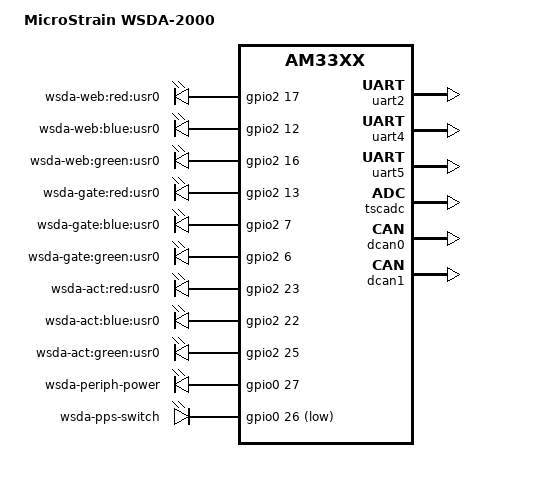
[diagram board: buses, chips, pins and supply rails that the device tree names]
/*
 * Copyright (C) 2019 Parker Hannifin - https://www.parker.com/
 *
 * This program is free software; you can redistribute it and/or modify
 * it under the terms of the GNU General Public License version 2 as
 * published by the Free Software Foundation.
 */
/dts-v1/;

#include "am33xx.dtsi"
#include "am335x-bone-common.dtsi"
#include "am335x-boneblack-common.dtsi"

/ {
	model = "MicroStrain WSDA-2000";
	compatible = "ti,am335x-wsda-2000", "ti,am33xx";
};

/ {
    wsda-gpio {
        pinctrl-names = "default";
        pinctrl-0 = <&wsda_gpio_pins>;
        compatible = "gpio-leds";

        webred { 
            label = "wsda-web:red:usr0"; 
            gpios = <&gpio2 17 GPIO_ACTIVE_HIGH>; 
            default-state = "on"; 
        }; 
    
        webblue { 
            label = "wsda-web:blue:usr0"; 
            gpios = <&gpio2 12 GPIO_ACTIVE_HIGH>; 
            default-state = "off"; 
        }; 
    
        webgreen { 
            label = "wsda-web:green:usr0"; 
            gpios = <&gpio2 16 GPIO_ACTIVE_HIGH>; 
            default-state = "off"; 
        }; 
    
        gatered { 
            label = "wsda-gate:red:usr0"; 
            gpios = <&gpio2 13 GPIO_ACTIVE_HIGH>; 
            default-state = "on"; 
        }; 
    
        gateblue { 
            label = "wsda-gate:blue:usr0"; 
            gpios = <&gpio2 7 GPIO_ACTIVE_HIGH>; 
            default-state = "off"; 
        }; 
    
        gategreen { 
            label = "wsda-gate:green:usr0"; 
            gpios = <&gpio2 6 GPIO_ACTIVE_HIGH>; 
            default-state = "off"; 
        }; 
    
        actred { 
            label = "wsda-act:red:usr0"; 
            gpios = <&gpio2 23 GPIO_ACTIVE_HIGH>; 
            default-state = "off"; 
        }; 
    
        actblue { 
            label = "wsda-act:blue:usr0"; 
            gpios = <&gpio2 22 GPIO_ACTIVE_HIGH>; 
            default-state = "off"; 
        }; 
    
        actgreen { 
            label = "wsda-act:green:usr0"; 
            gpios = <&gpio2 25 GPIO_ACTIVE_HIGH>; 
            default-state = "off"; 
        };

        periphpower { 
            label = "wsda-periph-power"; 
            gpios = <&gpio0 27 GPIO_ACTIVE_HIGH>; 
            default-state = "on"; 
        }; 
    
        ppsswitch { 
            label = "wsda-pps-switch"; 
            gpios = <&gpio0 26 GPIO_ACTIVE_LOW>; 
            default-state = "on"; 
        }; 
    };

	dmtimer_ptp0: dmtimer_ptp0 {
		compatible = "dmtimer-ptp";
		timer = <&timer4>;
		pinctrl-names = "default";
		pinctrl-0 = <&dmtimer_ptp0_pins>;
	};

	dmtimer_ptp1: dmtimer_ptp1 {
		compatible = "dmtimer-ptp";
		timer = <&timer5>;
		pinctrl-names = "default";
		pinctrl-0 = <&dmtimer_ptp1_pins>;
	};

	dmtimer_ptp2: dmtimer_ptp2 {
		compatible = "dmtimer-ptp";
		timer = <&timer6>;
		pinctrl-names = "default";
		pinctrl-0 = <&dmtimer_ptp2_pins>;
	};

	dmtimer_ptp3: dmtimer_ptp3 {
		compatible = "dmtimer-ptp";
		timer = <&timer7>;
		pinctrl-names = "default";
		pinctrl-0 = <&dmtimer_ptp3_pins>;
	};
};

&am335x_pinmux {
    wsda_gpio_pins: pinmux_wsdagpio_pins { 
        pinctrl-single,pins = < 
            /* gate red, blue, green */ 
            AM33XX_IOPAD(0x8bc, PIN_OUTPUT | MUX_MODE7) /* P8.40 lcd_data7.gpio2_13 */ 
            AM33XX_IOPAD(0x8a4, PIN_OUTPUT | MUX_MODE7) /* P8.46 lcd_data1.gpio2_7 */ 
            AM33XX_IOPAD(0x8a0, PIN_OUTPUT | MUX_MODE7) /* P8.45 lcd_data1.gpio2_6 */ 
        
            /* WEB Red, Blue, Green */ 
            AM33XX_IOPAD(0x8cc, PIN_OUTPUT | MUX_MODE7) /* P8.34 lcd_data11.gpio2_17 */ 
            AM33XX_IOPAD(0x8b8, PIN_OUTPUT | MUX_MODE7) /* P8.39 lcd_data6.gpio2_12 */ 
            AM33XX_IOPAD(0x8c8, PIN_OUTPUT | MUX_MODE7) /* P8.36 lcd_data10.gpio2_16 */ 
        
            /* Activity Red, Blue, Green */ 
            AM33XX_IOPAD(0x8e4, PIN_OUTPUT | MUX_MODE7) /* P8.29 (Red) lcd_hsync.gpio2_23 */ 
            AM33XX_IOPAD(0x8e0, PIN_OUTPUT | MUX_MODE7) /* P8.27 (Blue) lcd_vsync.gpio2_22 */ 
            AM33XX_IOPAD(0x8ec, PIN_OUTPUT | MUX_MODE7) /* P8.30 (Green) lcd_ac_bias_en.gpio2_25 */ 
        
            /* Input gpio */ 
            AM33XX_IOPAD(0x834, PIN_INPUT | MUX_MODE7) /* P8.11 gpio1_13 */ 
            AM33XX_IOPAD(0x830, PIN_INPUT | MUX_MODE7) /* P8.12 gpio1_12 */ 
            AM33XX_IOPAD(0x83c, PIN_INPUT | MUX_MODE7) /* P8.15 gpio1_15 */ 
            AM33XX_IOPAD(0x838, PIN_INPUT | MUX_MODE7) /* P8.16 gpio1_14 */ 
            AM33XX_IOPAD(0x848, PIN_INPUT | MUX_MODE7) /* P9.14 ehrpwm1a.gpio1_18 */ 
            AM33XX_IOPAD(0x84c, PIN_INPUT | MUX_MODE7) /* P9.16 ehrpwm1b.gpio1_19 */ 
        
            /* Botton board power */ 
            AM33XX_IOPAD(0x82c, PIN_OUTPUT | MUX_MODE7) /* P8.17 gpio0_27 */ 
        
            /* PPS control */ 
            AM33XX_IOPAD(0x828, PIN_OUTPUT | MUX_MODE7) /* P8.14 gpio0_26 */ 
        >; 
    };
 
    uart2_pins: pinmux_uart2_pins { 
        pinctrl-single,pins = < 
            AM33XX_IOPAD(0x950, PIN_INPUT_PULLUP | MUX_MODE1)   /* spi0_sck.uart2_rxd */ 
            AM33XX_IOPAD(0x954, PIN_OUTPUT_PULLDOWN | MUX_MODE1)    /* spi0_d0.uart2_txd */ 
        >; 
    };
 
    uart4_pins: pinmux_uart4_pins { 
        pinctrl-single,pins = < 
            AM33XX_IOPAD(0x870, PIN_INPUT_PULLUP | MUX_MODE6)   /* gpmc_wait0.uart4_rxd */ 
            AM33XX_IOPAD(0x874, PIN_OUTPUT_PULLDOWN | MUX_MODE6)    /* gpmc_wpn.uart4_txd */ 
            AM33XX_IOPAD(0x8d4, PIN_OUTPUT | MUX_MODE6) /* P8.33 uart4_rtsn */ 
            AM33XX_IOPAD(0x8d0, PIN_INPUT | MUX_MODE6)  /* P8.35 uart4_ctsn */ 
        >; 
    };
 
    uart5_pins: pinmux_uart5_pins { 
        pinctrl-single,pins = < 
            AM33XX_IOPAD(0x8c4, PIN_INPUT | MUX_MODE4)  /* lcd_data9.uart5_rxd */ 
            AM33XX_IOPAD(0x8c0, PIN_OUTPUT | MUX_MODE4) /* lcd_data8.uart5_txd */
        >; 
    };
 
    dcan0_pins: pinmux_dcan0_pins { 
        pinctrl-single,pins = < 
            AM33XX_IOPAD(0x97c, PIN_INPUT_PULLUP | MUX_MODE2)   /* uart1_rtsn.dcan0_rx */ 
            AM33XX_IOPAD(0x978, PIN_OUTPUT_PULLDOWN | MUX_MODE2)    /* uart1_ctsn.dcan0_tx */ 
        >; 
    };

    dcan1_pins: pinmux_dcan1_pins { 
        pinctrl-single,pins = < 
            AM33XX_IOPAD(0x980, PIN_OUTPUT_PULLDOWN | MUX_MODE2)    /* uart1_rxd.dcan1_tx */ 
            AM33XX_IOPAD(0x984, PIN_INPUT_PULLUP | MUX_MODE2)   /* uart1_txd.dcan1_rx */ 
        >; 
    };

	dmtimer_ptp0_pins: dmtimer_ptp0_pins {
		pinctrl-single,pins = <
			AM33XX_IOPAD(0x890, PIN_INPUT | MUX_MODE2)
		>;
	};

	dmtimer_ptp1_pins: dmtimer_ptp1_pins {
		pinctrl-single,pins = <
			AM33XX_IOPAD(0x89C, PIN_INPUT | MUX_MODE2)
		>;
	};

	dmtimer_ptp2_pins: dmtimer_ptp2_pins {
		pinctrl-single,pins = <
			AM33XX_IOPAD(0x898, PIN_INPUT | MUX_MODE2)
		>;
	};

	dmtimer_ptp3_pins: dmtimer_ptp3_pins {
		pinctrl-single,pins = <
			AM33XX_IOPAD(0x894, PIN_INPUT | MUX_MODE2)
		>;
	};
};

&uart2 { 
    pinctrl-names = "default"; 
    pinctrl-0 = <&uart2_pins>; 
    status = "okay"; 
}; 
 
&uart4 { 
    pinctrl-names = "default"; 
    pinctrl-0 = <&uart4_pins>; 
    status = "okay"; 
}; 
 
&uart5 { 
    pinctrl-names = "default"; 
    pinctrl-0 = <&uart5_pins>; 
    status = "okay"; 
}; 
 
&tscadc { 
    status = "okay"; 
}; 
 
&am335x_adc { 
    ti,adc-channels = <4>; 
}; 
 
&dcan0 { 
    pinctrl-names = "default"; 
    pinctrl-0 = <&dcan0_pins>; 
    status = "okay"; 
};

&dcan1 { 
    pinctrl-names = "default"; 
    pinctrl-0 = <&dcan1_pins>; 
    status = "okay"; 
};

/**
 * Enable extts pins for cpts
 */
&mac {
	cpts-ext-ts-inputs = <4>;
};

&lcdc {
    status = "disabled";
}

&i2c2 {
    status = "disabled";
}

&tda19988 {
    status = "disabled";
}

&cpu0_opp_table {
	/*
	 * All PG 2.0 silicon may not support 1GHz but some of the early
	 * BeagleBone Blacks have PG 2.0 silicon which is guaranteed
	 * to support 1GHz OPP so enable it for PG 2.0 on this board.
	 */
	oppnitro-1000000000 {
		opp-supported-hw = <0x06 0x0100>;
	};
};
